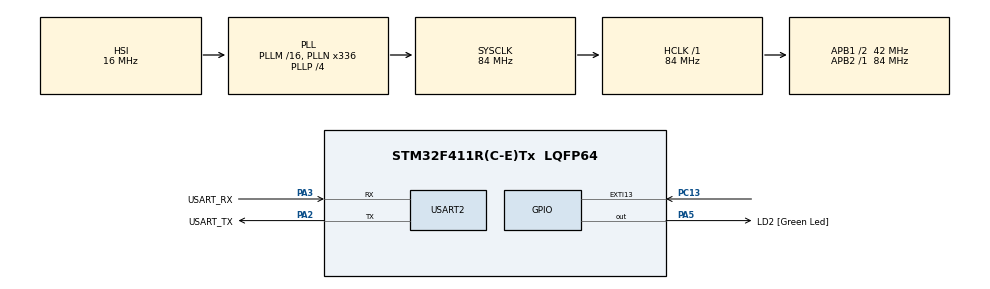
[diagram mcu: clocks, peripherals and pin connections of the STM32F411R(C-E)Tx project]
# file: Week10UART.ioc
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Mcu.Family=STM32F4
PC15-OSC32_OUT.Mode=LSE-External-Oscillator
RCC.CortexFreq_Value=84000000
PA14.GPIO_Label=TCK
PH1\ -\ OSC_OUT.Mode=HSE-External-Clock-Source
RCC.APB1CLKDivider=RCC_HCLK_DIV2
PC14-OSC32_IN.Signal=RCC_OSC32_IN
NVIC.USART2_IRQn=true\:0\:0\:false\:false\:true\:true\:true
RCC.SYSCLKSource=RCC_SYSCLKSOURCE_PLLCLK
ProjectManager.StackSize=0x400
PA13.Signal=SYS_JTMS-SWDIO
PA3.Mode=Asynchronous
PH0\ -\ OSC_IN.Mode=HSE-External-Clock-Source
PH0\ -\ OSC_IN.Signal=RCC_OSC_IN
ProjectManager.TargetToolchain=STM32CubeIDE
RCC.HCLKFreq_Value=84000000
RCC.APB2TimFreq_Value=84000000
PC15-OSC32_OUT.Signal=RCC_OSC32_OUT
RCC.AHBFreq_Value=84000000
PA5.Signal=GPIO_Output
RCC.HSE_VALUE=8000000
PH1\ -\ OSC_OUT.Signal=RCC_OSC_OUT
board=NUCLEO-F411RE
PC13-ANTI_TAMP.Signal=GPXTI13
RCC.VCOOutputFreq_Value=336000000
RCC.APB2Freq_Value=84000000
PC14-OSC32_IN.Mode=LSE-External-Oscillator
PA14.Mode=Serial_Wire
PA13.Mode=Serial_Wire
Mcu.Name=STM32F411R(C-E)Tx
PA2.Signal=USART2_TX
PA13.GPIO_Label=TMS
RCC.FLatency-AdvancedSettings=FLASH_LATENCY_2
RCC.48MHZClocksFreq_Value=84000000
PB3.Signal=SYS_JTDO-SWO
RCC.SYSCLKFreq_VALUE=84000000
Mcu.Package=LQFP64
PA5.GPIO_Label=LD2 [Green Led]
USART2.VirtualMode=VM_ASYNC
PA2.GPIO_Label=USART_TX
PA14.Signal=SYS_JTCK-SWCLK
ProjectManager.HeapSize=0x200
RCC.HSI_VALUE=16000000
RCC.PLLP=RCC_PLLP_DIV4
NVIC.PriorityGroup=NVIC_PRIORITYGROUP_0
RCC.PLLN=336
RCC.APB1TimFreq_Value=84000000
PA2.Mode=Asynchronous
RCC.APB1Freq_Value=42000000
PA3.GPIO_Label=USART_RX
PA3.Signal=USART2_RX
PB3.GPIO_Label=SWO

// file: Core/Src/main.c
/* USER CODE BEGIN Header */
/**
 ******************************************************************************
 * @file           : main.c
 * @brief          : Main program body
 ******************************************************************************
 * @attention
 *
 * <h2><center>&copy; Copyright (c) 2021 STMicroelectronics.
 * All rights reserved.</center></h2>
 *
 * This software component is licensed by ST under BSD 3-Clause license,
 * the "License"; You may not use this file except in compliance with the
 * License. You may obtain a copy of the License at:
 *                        opensource.org/licenses/BSD-3-Clause
 *
 ******************************************************************************
 */
/* USER CODE END Header */
#include "main.h"

/* USER CODE BEGIN Includes */
#include <stdio.h>
#include <string.h>
/* USER CODE END Includes */

UART_HandleTypeDef huart2;

/* USER CODE BEGIN PV */
enum
{
	S_0 = 0,
	S_Menu = 1,
	S_Input = 2,
	S_Menu_1 = 3,
	S_Menu_1_Input = 4,
	S_Menu_2 = 5,
	S_Menu_2_Input = 6,

};
uint16_t State = 0;
uint16_t on = 1;
uint16_t ButtonPress[2] = {0};
int fq = 1;
char TxDataBuffer[32] =
{ 0 };
char RxDataBuffer[32] =
{ 0 };
char temp[1000];
/* USER CODE END PV */

void SystemClock_Config(void);
static void MX_GPIO_Init(void);
static void MX_USART2_UART_Init(void);
/* USER CODE BEGIN PFP */
void UARTRecieveAndResponsePolling();
int16_t UARTRecieveIT();
/* USER CODE END PFP */

int main(void)
{

  /* MCU Configuration--------------------------------------------------------*/

  /* Reset of all peripherals, Initializes the Flash interface and the Systick. */
  HAL_Init();

  /* Configure the system clock */
  SystemClock_Config();

  /* Initialize all configured peripherals */
  MX_GPIO_Init();
  MX_USART2_UART_Init();
  /* USER CODE BEGIN 2 */
	{
		char temp[]="HELLO WORLD\r\n please type something to test UART\r\n";
		HAL_UART_Transmit(&huart2, (uint8_t*)temp, strlen(temp),10);
	}
  /* USER CODE END 2 */

  /* Infinite loop */
  /* USER CODE BEGIN WHILE */
	while (1)
	{
		ButtonPress[0]=HAL_GPIO_ReadPin(GPIOC, GPIO_PIN_13);
		/*Method 1 Polling Mode*/

		//		UARTRecieveAndResponsePolling();

		/*Method 2 Interrupt Mode*/
		HAL_UART_Receive_IT(&huart2,  (uint8_t*)RxDataBuffer, 32);

		/*Method 2 W/ 1 Char Received*/
		int16_t inputchar = UARTRecieveIT();
		if(inputchar!=-1)
		{

			//			sprintf(TxDataBuffer, "ReceivedChar:[%c]\r\n", inputchar);
			HAL_UART_Transmit(&huart2, (uint8_t*)TxDataBuffer, strlen(TxDataBuffer), 1000);
		}
		switch(State)
		{
		case S_0 :
			State = S_Menu;
			break;
		case S_Menu :
		{

			char temp[]="------------\r\n   Menu   \r\n------------\r\n1.Menu 1 : LED Control\r\n2.Menu 2 : Button Status\r\n\r\n";
			HAL_UART_Transmit(&huart2, (uint32_t*)temp, strlen(temp),1000);
			State = S_Input;
			break;
		}
		case S_Input:
			switch(inputchar)
			{
			case -1:
				break;
			case '1':
				State = S_Menu_1;
				break;
			case '2':
				State = S_Menu_2;
				break;
			default :
			{

				char temp[]="Please Try Again\r\n";
				HAL_UART_Transmit(&huart2, (uint16_t*)temp, strlen(temp),1000);
				State = S_Menu;
				break;
			}
			}
			break;

			case S_Menu_1:
			{
				char temp[]="------------------------\r\n   Menu 1 : LED Control   \r\n------------------------\r\n"
						"a. Speed Up +1Hz\r\n"
						"s. Speed Down -1Hz\r\n"
						"d. On/Off\r\n"
						"x. Back\r\n";
				HAL_UART_Transmit(&huart2, (uint32_t*)temp, strlen(temp),1000);
				State = S_Menu_1_Input;
				break;
			}
			case S_Menu_1_Input:
				switch(inputchar)
				{
				case -1:
					break;
				case 'a':
					fq += 1;
					sprintf(temp, "Your frequency:[%d]\r\n", fq);
					HAL_UART_Transmit(&huart2, (uint16_t*)temp, strlen(temp),1000);
					State = S_Menu_1_Input;
					break;
				case 's':
					fq -= 1;
					if(fq < 0)
					{
						fq = 0;
						sprintf(temp, "Your frequency:[%d]\r\n", fq);
						HAL_UART_Transmit(&huart2, (uint16_t*)temp, strlen(temp),1000);
						State = S_Menu_1_Input;
						break;
					}
					else
					{
						sprintf(temp, "Your frequency:[%d]\r\n", fq);
						HAL_UART_Transmit(&huart2, (uint16_t*)temp, strlen(temp),1000);
						State = S_Menu_1_Input;
						break;
					}

				case 'd':
					if(on == 0)
					{
						on = 1;
						char temp[]="LED On\r\n";
						HAL_UART_Transmit(&huart2, (uint16_t*)temp, strlen(temp),1000);
						State = S_Menu_1_Input;
						break;
					}
					else if(on == 1)
					{
						on = 0;
						char temp[]="LED Off\r\n";
						HAL_UART_Transmit(&huart2, (uint16_t*)temp, strlen(temp),1000);
						State = S_Menu_1_Input;
						break;
					}

				case 'x':
					State = S_Menu;
					break;
				default :
				{

					char temp[]="Please Try Again\r\n";
					HAL_UART_Transmit(&huart2, (uint16_t*)temp, strlen(temp),1000);
					State = S_Menu_1;
					break;
				}
				}
				break;
			case S_Menu_2:
			{
				char temp[]="------------------------\r\n   Menu 2 : Button Status  \r\n------------------------\r\n"
						"Press blue button to show button status\r\n"
						"x. Back\r\n";
				HAL_UART_Transmit(&huart2, (uint32_t*)temp, strlen(temp),1000);
				State = S_Menu_2_Input;
				break;
			}
			case S_Menu_2_Input:
			{
				switch(inputchar)
				{
				case -1:
					break;
				case 'x':
					State = S_Menu;
					break;
				default :
				{

					char temp[]="Please Try Again\r\n";
					HAL_UART_Transmit(&huart2, (uint16_t*)temp, strlen(temp),1000);
					State = S_Menu_2;
					break;
				}
				}

			}
			break;
		}

		if(fq > 0)
		{
			if(on == 1)
			{
				HAL_Delay(500/fq);
				HAL_GPIO_TogglePin(LD2_GPIO_Port, LD2_Pin);
			}
			if(on == 0)
			{
				HAL_GPIO_WritePin(GPIOA, GPIO_PIN_5, 0);
			}
		}
		if(State == 6)
		{
			if(ButtonPress[0] == 0 && ButtonPress[1] == 1)
			{
				char temp[]="button is pressed\r\n";
				HAL_UART_Transmit(&huart2, (uint16_t*)temp, strlen(temp),1000);
				State = 6;
			}
			else if(ButtonPress[0] == 1 && ButtonPress[1] == 0)
			{
				char temp[]="button isn't pressed\r\n";
				HAL_UART_Transmit(&huart2, (uint16_t*)temp, strlen(temp),1000);
				State = 6;
			}
		}

		ButtonPress[1]=ButtonPress[0];

		/*This section just simmulate Work Load*/

    /* USER CODE END WHILE */

	}
}

void SystemClock_Config(void)
{
  RCC_OscInitTypeDef RCC_OscInitStruct = {0};
  RCC_ClkInitTypeDef RCC_ClkInitStruct = {0};

  /** Configure the main internal regulator output voltage
  */
  __HAL_RCC_PWR_CLK_ENABLE();
  __HAL_PWR_VOLTAGESCALING_CONFIG(PWR_REGULATOR_VOLTAGE_SCALE1);
  /** Initializes the RCC Oscillators according to the specified parameters
  * in the RCC_OscInitTypeDef structure.
  */
  RCC_OscInitStruct.OscillatorType = RCC_OSCILLATORTYPE_HSI;
  RCC_OscInitStruct.HSIState = RCC_HSI_ON;
  RCC_OscInitStruct.HSICalibrationValue = RCC_HSICALIBRATION_DEFAULT;
  RCC_OscInitStruct.PLL.PLLState = RCC_PLL_ON;
  RCC_OscInitStruct.PLL.PLLSource = RCC_PLLSOURCE_HSI;
  RCC_OscInitStruct.PLL.PLLM = 16;
  RCC_OscInitStruct.PLL.PLLN = 336;
  RCC_OscInitStruct.PLL.PLLP = RCC_PLLP_DIV4;
  RCC_OscInitStruct.PLL.PLLQ = 4;
  if (HAL_RCC_OscConfig(&RCC_OscInitStruct) != HAL_OK)
  {
    Error_Handler();
  }
  /** Initializes the CPU, AHB and APB buses clocks
  */
  RCC_ClkInitStruct.ClockType = RCC_CLOCKTYPE_HCLK|RCC_CLOCKTYPE_SYSCLK
                              |RCC_CLOCKTYPE_PCLK1|RCC_CLOCKTYPE_PCLK2;
  RCC_ClkInitStruct.SYSCLKSource = RCC_SYSCLKSOURCE_PLLCLK;
  RCC_ClkInitStruct.AHBCLKDivider = RCC_SYSCLK_DIV1;
  RCC_ClkInitStruct.APB1CLKDivider = RCC_HCLK_DIV2;
  RCC_ClkInitStruct.APB2CLKDivider = RCC_HCLK_DIV1;

  if (HAL_RCC_ClockConfig(&RCC_ClkInitStruct, FLASH_LATENCY_2) != HAL_OK)
  {
    Error_Handler();
  }
}

static void MX_USART2_UART_Init(void)
{

  huart2.Instance = USART2;
  huart2.Init.BaudRate = 115200;
  huart2.Init.WordLength = UART_WORDLENGTH_8B;
  huart2.Init.StopBits = UART_STOPBITS_1;
  huart2.Init.Parity = UART_PARITY_NONE;
  huart2.Init.Mode = UART_MODE_TX_RX;
  huart2.Init.HwFlowCtl = UART_HWCONTROL_NONE;
  huart2.Init.OverSampling = UART_OVERSAMPLING_16;
  if (HAL_UART_Init(&huart2) != HAL_OK)
  {
    Error_Handler();
  }

}

static void MX_GPIO_Init(void)
{
  GPIO_InitTypeDef GPIO_InitStruct = {0};

  /* GPIO Ports Clock Enable */
  __HAL_RCC_GPIOC_CLK_ENABLE();
  __HAL_RCC_GPIOH_CLK_ENABLE();
  __HAL_RCC_GPIOA_CLK_ENABLE();
  __HAL_RCC_GPIOB_CLK_ENABLE();

  /*Configure GPIO pin Output Level */
  HAL_GPIO_WritePin(LD2_GPIO_Port, LD2_Pin, GPIO_PIN_RESET);

  /*Configure GPIO pin : PC13 */
  GPIO_InitStruct.Pin = GPIO_PIN_13;
  GPIO_InitStruct.Mode = GPIO_MODE_IT_RISING;
  GPIO_InitStruct.Pull = GPIO_NOPULL;
  HAL_GPIO_Init(GPIOC, &GPIO_InitStruct);

  /*Configure GPIO pin : LD2_Pin */
  GPIO_InitStruct.Pin = LD2_Pin;
  GPIO_InitStruct.Mode = GPIO_MODE_OUTPUT_PP;
  GPIO_InitStruct.Pull = GPIO_NOPULL;
  GPIO_InitStruct.Speed = GPIO_SPEED_FREQ_LOW;
  HAL_GPIO_Init(LD2_GPIO_Port, &GPIO_InitStruct);

}

/* USER CODE BEGIN 4 */
void UARTRecieveAndResponsePolling()
{
	char Recieve[32]={0};

	HAL_UART_Receive(&huart2, (uint8_t*)Recieve, 4, 1000);

	sprintf(TxDataBuffer, "Received:[%s]\r\n", Recieve);
	HAL_UART_Transmit(&huart2, (uint8_t*)TxDataBuffer, strlen(TxDataBuffer), 1000);

}

int16_t UARTRecieveIT()
{
	static uint32_t dataPos =0;
	int16_t data=-1;
	if(huart2.RxXferSize - huart2.RxXferCount!=dataPos)
	{
		data=RxDataBuffer[dataPos];
		dataPos= (dataPos+1)%huart2.RxXferSize;
	}
	return data;
}

void HAL_UART_RxCpltCallback(UART_HandleTypeDef *huart)
{
	sprintf(TxDataBuffer, "Received:[%s]\r\n", RxDataBuffer);
	HAL_UART_Transmit(&huart2, (uint8_t*)TxDataBuffer, strlen(TxDataBuffer), 1000);
}
/* USER CODE END 4 */

void Error_Handler(void)
{
	__disable_irq();
	while (1)
	{
	}
}

/************************ (C) COPYRIGHT STMicroelectronics *****END OF FILE****/
